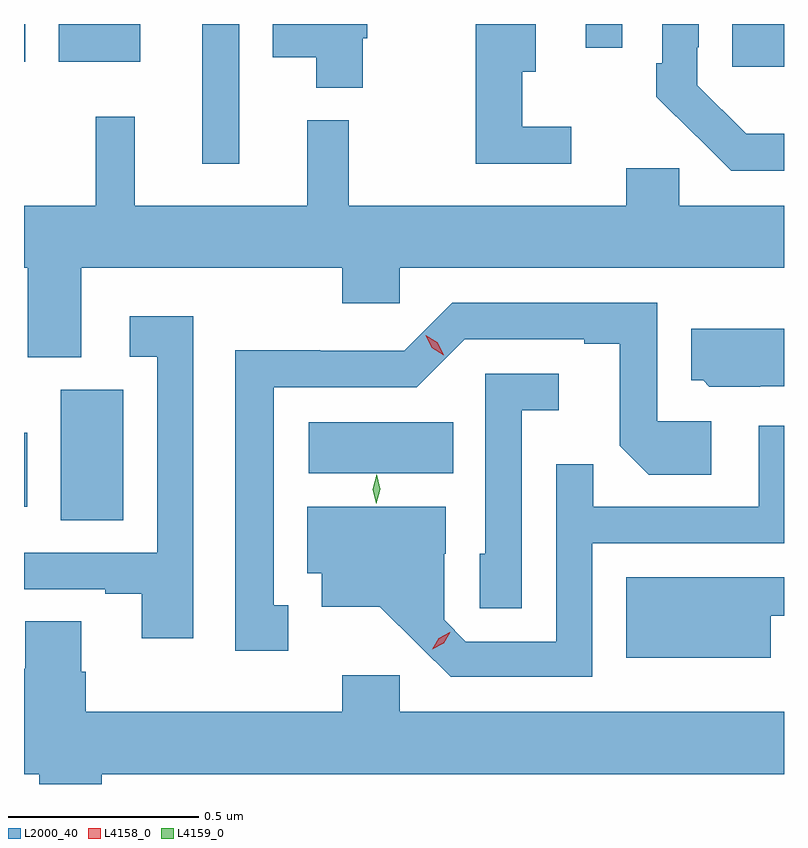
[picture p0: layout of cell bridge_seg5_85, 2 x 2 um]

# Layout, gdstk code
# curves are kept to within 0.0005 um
import gdstk
lib = gdstk.Library(unit=1e-6, precision=1e-09)
def R(c, l, rs):  # rectangles x0, y0, x1, y1
    for r in rs: c.add(gdstk.rectangle(r[:2], r[2:], *l))
def P(c, l, *ps):  # polygons
    for p in ps: c.add(gdstk.Polygon(p, *l))
L2000_40 = (2000, 40)
L4158_0 = (4158, 0)
L4159_0 = (4159, 0)

bridge_seg5_85 = lib.new_cell('bridge_seg5_85')
R(bridge_seg5_85, L2000_40, [(123.848,893.392,124.012,893.736), (123.751,893.427,123.76,893.623), (124.5,893.516,124.88,893.65), (124.22,894.33,124.317,894.698), (125.615,894.585,125.751,894.698), (123.751,894.599,123.754,894.698), (123.842,894.599,124.057,894.698), (125.229,894.636,125.325,894.698)])
P(bridge_seg5_85, L2000_40, [(124.642,894.66),(124.654,894.66),(124.654,894.698),(124.406,894.698),(124.406,894.611),(124.52,894.611),(124.52,894.53),(124.642,894.53)],
  [(125.191,894.427),(125.062,894.427),(125.062,894.572),(125.098,894.572),(125.098,894.698),(124.94,894.698),(124.94,894.33),(125.191,894.33)],
  [(125.751,894.409),(125.652,894.409),(125.523,894.537),(125.523,894.637),(125.526,894.637),(125.526,894.698),(125.43,894.698),(125.43,894.595),(125.415,894.595),(125.415,894.507),(125.52,894.402),(125.521,894.403),(125.612,894.312),(125.751,894.312)],
  [(123.901,894.056),(124.589,894.056),(124.589,893.963),(124.74,893.963),(124.74,894.056),(125.751,894.056),(125.751,894.22),(125.475,894.22),(125.475,894.318),(125.336,894.318),(125.336,894.22),(124.606,894.22),(124.606,894.445),(124.496,894.445),(124.496,894.22),(124.043,894.22),(124.043,894.454),(123.94,894.454),(123.94,894.22),(123.751,894.22),(123.751,894.056),(123.761,894.056),(123.761,893.821),(123.901,893.821)],
  [(124.447,893.169),(124.408,893.169),(124.408,893.742),(124.785,893.742),(124.911,893.868),(125.225,893.868),(125.225,893.856),(125.319,893.856),(125.319,893.588),(125.395,893.512),(125.56,893.512),(125.56,893.652),(125.418,893.652),(125.418,893.964),(124.878,893.964),(124.752,893.838),(124.53,893.838),(124.53,893.84),(124.307,893.84),(124.307,893.049),(124.447,893.049)],
  [(124.197,893.929),(124.029,893.929),(124.029,893.823),(124.101,893.823),(124.101,893.307),(123.751,893.307),(123.751,893.211),(123.965,893.211),(123.965,893.199),(124.061,893.199),(124.061,893.082),(124.197,893.082)],
  [(125.688,893.745),(125.751,893.745),(125.751,893.896),(125.507,893.896),(125.507,893.76),(125.538,893.76),(125.554,893.744),(125.688,893.744)],
  [(125.061,893.681),(125.158,893.681),(125.158,893.778),(124.965,893.778),(124.965,893.304),(124.95,893.304),(124.95,893.161),(125.061,893.161)],
  [(125.247,893.331),(125.751,893.331),(125.751,893.641),(125.685,893.641),(125.685,893.427),(125.249,893.427),(125.249,893.54),(125.151,893.54),(125.151,893.073),(124.914,893.073),(124.857,893.13),(124.857,893.304),(124.861,893.304),(124.861,893.428),(124.496,893.428),(124.496,893.252),(124.535,893.252),(124.535,893.165),(124.687,893.165),(124.874,892.98),(125.247,892.98)],
  [(125.716,893.141),(125.751,893.141),(125.751,893.242),(125.336,893.242),(125.336,893.03),(125.716,893.03)],
  [(123.956,892.724),(125.751,892.724),(125.751,892.888),(124.74,892.888),(124.74,892.984),(124.589,892.984),(124.589,892.888),(123.914,892.888),(123.914,892.994),(123.901,892.994),(123.901,893.126),(123.754,893.126),(123.754,893.001),(123.751,893.001),(123.751,892.724),(123.791,892.724),(123.791,892.698),(123.956,892.698)])
P(bridge_seg5_85, L4158_0, [(124.825,893.053),(124.825,893.053),(124.842,893.082),(124.872,893.098),(124.873,893.098),(124.873,893.098),(124.856,893.068),(124.825,893.053)],
  [(124.856,893.826),(124.824,893.846),(124.808,893.879),(124.808,893.879),(124.808,893.879),(124.839,893.86),(124.856,893.827),(124.856,893.826)])
P(bridge_seg5_85, L4159_0, [(124.678,893.435),(124.678,893.435),(124.669,893.474),(124.679,893.513),(124.679,893.513),(124.679,893.513),(124.689,893.474),(124.678,893.435)])

lib.write_gds('bridge_seg5_85.gds')
